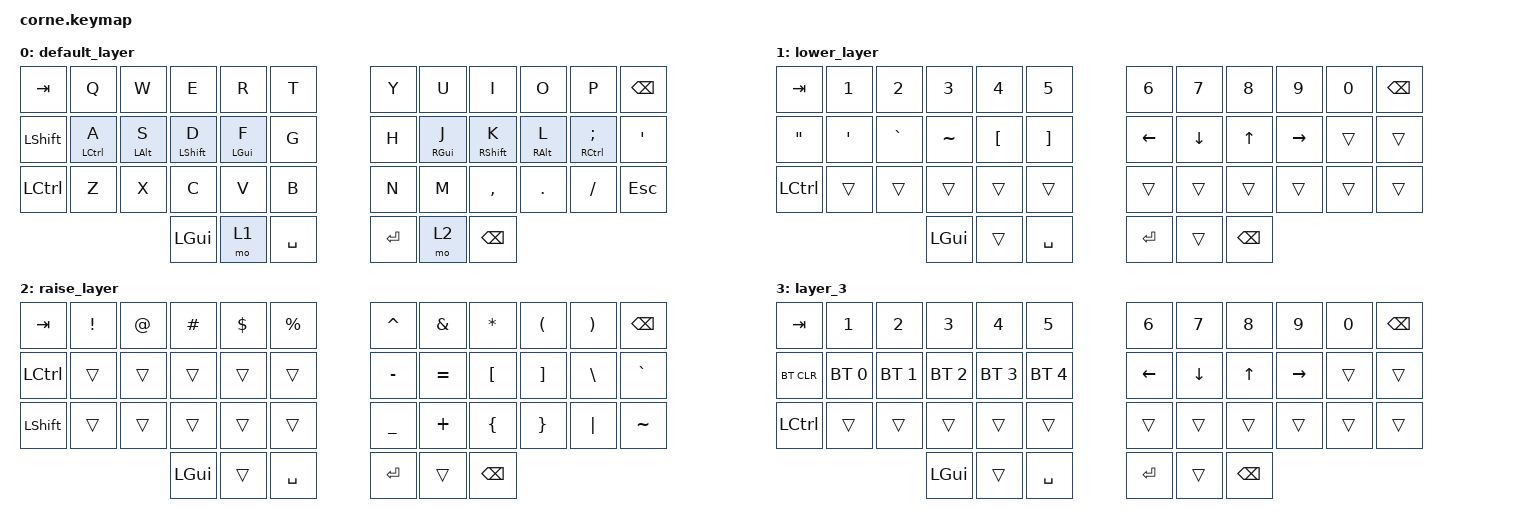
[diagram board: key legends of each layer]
/*
 * Copyright (c) 2020 The ZMK Contributors
 *
 * SPDX-License-Identifier: MIT
 */

#include <behaviors.dtsi>
#include <dt-bindings/zmk/bt.h>
#include <dt-bindings/zmk/keys.h>

/ {
    behaviors {
        hm: hm {
            compatible = "zmk,behavior-hold-tap";
            label = "HM";
            bindings = <&kp>, <&kp>;

            #binding-cells = <2>;
            tapping-term-ms = <200>;
        };
    };

    keymap {
        compatible = "zmk,keymap";

        default_layer {
            // -----------------------------------------------------------------------------------------
            // |  TAB |  Q  |  W  |  E  |  R  |  T  |   |  Y  |  U   |  I  |  O  |  P  | BSPC |
            // | CTRL |  A  |  S  |  D  |  F  |  G  |   |  H  |  J   |  K  |  L  |  ;  |  '   |
            // | SHFT |  Z  |  X  |  C  |  V  |  B  |   |  N  |  M   |  ,  |  .  |  /  | ESC  |
            //                    | GUI | LWR | SPC |   | ENT | RSE  | ALT |

            bindings = <
&kp TAB     &kp Q        &kp W       &kp E         &kp R       &kp T        &kp Y    &kp U       &kp I          &kp O       &kp P           &kp BSPC
&kp LSHIFT  &hm LCTRL A  &hm LALT S  &hm LSHIFT D  &hm LGUI F  &kp G        &kp H    &hm RGUI J  &hm RSHIFT K   &hm RALT L  &hm RCTRL SEMI  &kp SQT
&kp LCTRL   &kp Z        &kp X       &kp C         &kp V       &kp B        &kp N    &kp M       &kp COMMA      &kp DOT     &kp FSLH        &kp ESC
                                     &kp LGUI      &mo 1       &kp SPACE    &kp RET  &mo 2       &kp BACKSPACE
            >;
        };

        lower_layer {
            // -----------------------------------------------------------------------------------------
            // |  TAB |  1  |  2  |  3  |  4  |  5  |   |  6  |  7  |  8  |  9  |  0  | BSPC |
            // | BTCLR| BT1 | BT2 | BT3 | BT4 | BT5 |   | LFT | DWN |  UP | RGT |     |      |
            // | SHFT |     |     |     |     |     |   |     |     |     |     |     |      |
            //                    | GUI |     | SPC |   | ENT |     | ALT |

            bindings = <
&kp TAB            &kp N1   &kp N2     &kp N3     &kp N4            &kp N5               &kp N6    &kp N7    &kp N8         &kp N9     &kp N0  &kp BSPC
&kp DOUBLE_QUOTES  &kp SQT  &kp GRAVE  &kp TILDE  &kp LEFT_BRACKET  &kp RIGHT_BRACKET    &kp LEFT  &kp DOWN  &kp UP         &kp RIGHT  &trans  &trans
&kp LEFT_CONTROL   &trans   &trans     &trans     &trans            &trans               &trans    &trans    &trans         &trans     &trans  &trans
                                       &kp LGUI   &trans            &kp SPACE            &kp RET   &trans    &kp BACKSPACE
            >;
        };

        raise_layer {
            // -----------------------------------------------------------------------------------------
            // |  TAB |  !  |  @  |  #  |  $  |  %  |   |  ^  |  &  |  *  |  (  |  )  | BSPC |
            // | CTRL |     |     |     |     |     |   |  -  |  =  |  [  |  ]  |  \  |  `   |
            // | SHFT |     |     |     |     |     |   |  _  |  +  |  {  |  }  | "|" |  ~   |
            //                    | GUI |     | SPC |   | ENT |     | ALT |

            bindings = <
&kp TAB    &kp EXCL  &kp AT  &kp HASH  &kp DLLR  &kp PRCNT    &kp CARET  &kp AMPS   &kp ASTRK      &kp LPAR  &kp RPAR  &kp BSPC
&kp LCTRL  &trans    &trans  &trans    &trans    &trans       &kp MINUS  &kp EQUAL  &kp LBKT       &kp RBKT  &kp BSLH  &kp GRAVE
&kp LSHFT  &trans    &trans  &trans    &trans    &trans       &kp UNDER  &kp PLUS   &kp LBRC       &kp RBRC  &kp PIPE  &kp TILDE
                             &kp LGUI  &trans    &kp SPACE    &kp RET    &trans     &kp BACKSPACE
            >;
        };

        layer_3 {
            bindings = <
&kp TAB           &kp N1        &kp N2        &kp N3        &kp N4        &kp N5          &kp N6    &kp N7    &kp N8         &kp N9     &kp N0  &kp BSPC
&bt BT_CLR        &bt BT_SEL 0  &bt BT_SEL 1  &bt BT_SEL 2  &bt BT_SEL 3  &bt BT_SEL 4    &kp LEFT  &kp DOWN  &kp UP         &kp RIGHT  &trans  &trans
&kp LEFT_CONTROL  &trans        &trans        &trans        &trans        &trans          &trans    &trans    &trans         &trans     &trans  &trans
                                              &kp LGUI      &trans        &kp SPACE       &kp RET   &trans    &kp BACKSPACE
            >;
        };
    };
};
